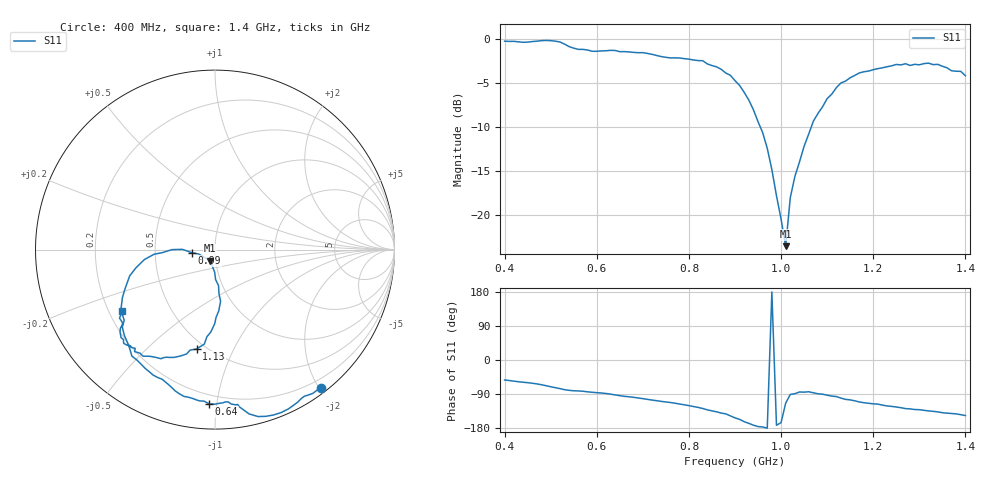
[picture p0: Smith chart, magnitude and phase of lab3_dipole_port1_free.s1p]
# HZ S RI R 50
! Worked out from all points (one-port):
!   101 points, 400 MHz to 1.4 GHz, reference 50 ohm
!   lowest |S11| = -23.5 dB at 1.01 GHz (marker M1), VSWR 1.14, Z = 47 - j5.79 ohm
!   |S11| at or under -10 dB: 955.1 MHz to 1.065 GHz (110.3 MHz wide, 10.9 % of centre)
!   S11 on the Smith chart (normalised r, x): 400 MHz: 0.08, -2.02; 640 MHz: 0.14, -0.95; 990 MHz: 0.77, -0.03; 1.13 GHz: 0.45, -0.73; 1.4 GHz: 0.26, -0.28
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4e8  0.5882 -0.7722
4.8e8  0.4093 -0.8874
5.1e8  0.2835 -0.9289
5.3e8  0.1896 -0.9153
5.6e8  0.1269 -0.8631
6.4e8  -0.0329 -0.8592
6.5e8  -0.0606 -0.8444
7e8  -0.173 -0.8179
7.8e8  -0.3443 -0.6995
8.3e8  -0.4633 -0.5928
8.8e8  -0.5061 -0.3933
9e8  -0.5156 -0.2661
9.4e8  -0.3928 -0.0549
9.6e8  -0.2944 -0.0172
9.7e8  -0.2401 -0.000202
9.9e8  -0.1282 -0.0174
1.01e9  -0.0271 -0.0613
1.02e9  -0.00183 -0.1263
1.03e9  0.00322 -0.1665
1.07e9  0.021 -0.341
1.13e9  -0.1028 -0.5538
1.15e9  -0.1585 -0.5816
1.18e9  -0.2526 -0.6008
1.21e9  -0.301 -0.608
1.27e9  -0.4478 -0.5683
1.28e9  -0.4445 -0.5503
1.34e9  -0.5236 -0.4904
1.4e9  -0.5157 -0.3417
